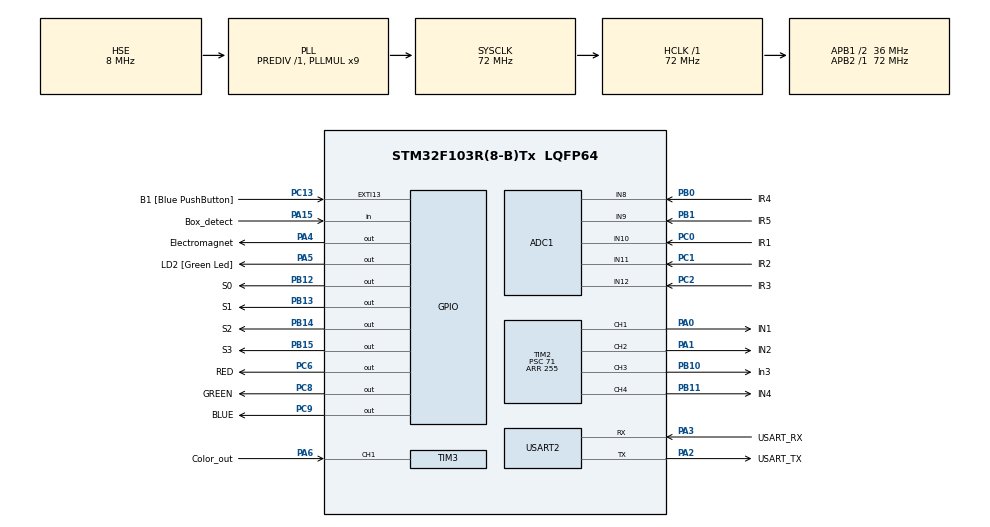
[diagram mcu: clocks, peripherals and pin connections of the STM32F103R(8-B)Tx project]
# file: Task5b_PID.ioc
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ADC1.Channel-0\#ChannelRegularConversion=ADC_CHANNEL_10
ADC1.Channel-1\#ChannelRegularConversion=ADC_CHANNEL_11
ADC1.Channel-2\#ChannelRegularConversion=ADC_CHANNEL_12
ADC1.Channel-3\#ChannelRegularConversion=ADC_CHANNEL_8
ADC1.Channel-4\#ChannelRegularConversion=ADC_CHANNEL_9
ADC1.ContinuousConvMode=ENABLE
ADC1.NbrOfConversion=5
ADC1.NbrOfConversionFlag=1
ADC1.Rank-0\#ChannelRegularConversion=1
ADC1.Rank-1\#ChannelRegularConversion=2
ADC1.Rank-2\#ChannelRegularConversion=3
ADC1.Rank-3\#ChannelRegularConversion=4
ADC1.Rank-4\#ChannelRegularConversion=5
ADC1.SamplingTime-0\#ChannelRegularConversion=ADC_SAMPLETIME_55CYCLES_5
ADC1.SamplingTime-1\#ChannelRegularConversion=ADC_SAMPLETIME_55CYCLES_5
ADC1.SamplingTime-2\#ChannelRegularConversion=ADC_SAMPLETIME_55CYCLES_5
ADC1.SamplingTime-3\#ChannelRegularConversion=ADC_SAMPLETIME_55CYCLES_5
ADC1.SamplingTime-4\#ChannelRegularConversion=ADC_SAMPLETIME_55CYCLES_5
ADC1.master=1
Dma.ADC1.0.Direction=DMA_PERIPH_TO_MEMORY
Dma.ADC1.0.Instance=DMA1_Channel1
Dma.ADC1.0.MemDataAlignment=DMA_MDATAALIGN_HALFWORD
Dma.ADC1.0.MemInc=DMA_MINC_ENABLE
Dma.ADC1.0.Mode=DMA_CIRCULAR
Dma.ADC1.0.PeriphDataAlignment=DMA_PDATAALIGN_HALFWORD
Dma.ADC1.0.PeriphInc=DMA_PINC_DISABLE
Dma.ADC1.0.Priority=DMA_PRIORITY_LOW
Dma.Request0=ADC1
Mcu.Family=STM32F1
Mcu.Name=STM32F103R(8-B)Tx
Mcu.Package=LQFP64
NVIC.ADC1_2_IRQn=true\:0\:0\:false\:false\:true\:true\:true\:true
NVIC.DMA1_Channel1_IRQn=true\:0\:0\:false\:false\:true\:false\:true\:true
NVIC.EXTI15_10_IRQn=true\:0\:0\:false\:false\:true\:true\:true\:true
NVIC.PriorityGroup=NVIC_PRIORITYGROUP_4
NVIC.TIM3_IRQn=true\:0\:0\:false\:false\:true\:true\:true\:true
PA0-WKUP.GPIO_Label=IN1
PA0-WKUP.Signal=S_TIM2_CH1_ETR
PA1.GPIO_Label=IN2
PA1.Signal=S_TIM2_CH2
PA13.GPIO_Label=TMS
PA13.Mode=Serial_Wire
PA13.Signal=SYS_JTMS-SWDIO
PA14.GPIO_Label=TCK
PA14.Mode=Serial_Wire
PA14.Signal=SYS_JTCK-SWCLK
PA15.GPIO_Label=Box_detect
PA15.Signal=GPIO_Input
PA2.GPIO_Label=USART_TX
PA2.GPIO_Mode=GPIO_MODE_AF_PP
PA2.GPIO_PuPd=GPIO_NOPULL
PA2.GPIO_Speed=GPIO_SPEED_FREQ_LOW
PA2.Mode=Asynchronous
PA2.Signal=USART2_TX
PA3.GPIO_Label=USART_RX
PA3.GPIO_Mode=GPIO_MODE_AF_PP
PA3.GPIO_PuPd=GPIO_NOPULL
PA3.GPIO_Speed=GPIO_SPEED_FREQ_LOW
PA3.Mode=Asynchronous
PA3.Signal=USART2_RX
PA4.GPIO_Label=Electromagnet
PA4.Signal=GPIO_Output
PA5.GPIO_Label=LD2 [Green Led]
PA5.GPIO_ModeDefaultOutputPP=GPIO_MODE_OUTPUT_PP
PA5.GPIO_PuPd=GPIO_NOPULL
PA5.GPIO_Speed=GPIO_SPEED_FREQ_LOW
PA5.Signal=GPIO_Output
PA6.GPIO_Label=Color_out
PA6.Signal=S_TIM3_CH1
PB0.GPIO_Label=IR4
PB0.Signal=ADCx_IN8
PB1.GPIO_Label=IR5
PB1.Signal=ADCx_IN9
PB10.GPIO_Label=In3
PB10.Signal=S_TIM2_CH3
PB11.GPIO_Label=IN4
PB11.Signal=S_TIM2_CH4
PB12.GPIO_Label=S0
PB12.Signal=GPIO_Output
PB13.GPIO_Label=S1
PB13.Signal=GPIO_Output
PB14.GPIO_Label=S2
PB14.Signal=GPIO_Output
PB15.GPIO_Label=S3
PB15.Signal=GPIO_Output
PB3.GPIO_Label=SWO
PB3.Signal=SYS_JTDO-TRACESWO
PC0.GPIO_Label=IR1
PC0.Signal=ADCx_IN10
PC1.GPIO_Label=IR2
PC1.Signal=ADCx_IN11
PC13-TAMPER-RTC.GPIO_Label=B1 [Blue PushButton]
PC13-TAMPER-RTC.GPIO_PuPd=GPIO_NOPULL
PC13-TAMPER-RTC.Signal=GPXTI13
PC14-OSC32_IN.Mode=LSE-External-Oscillator
PC14-OSC32_IN.Signal=RCC_OSC32_IN
PC15-OSC32_OUT.Mode=LSE-External-Oscillator
PC15-OSC32_OUT.Signal=RCC_OSC32_OUT
PC2.GPIO_Label=IR3
PC2.Signal=ADCx_IN12
PC6.GPIO_Label=RED
PC6.Signal=GPIO_Output
PC8.GPIO_Label=GREEN
PC8.Signal=GPIO_Output
PC9.GPIO_Label=BLUE
PC9.Signal=GPIO_Output
PD0-OSC_IN.Mode=HSE-External-Clock-Source
PD0-OSC_IN.Signal=RCC_OSC_IN
PD1-OSC_OUT.Mode=HSE-External-Clock-Source
PD1-OSC_OUT.Signal=RCC_OSC_OUT
ProjectManager.HeapSize=0x200
ProjectManager.StackSize=0x400
ProjectManager.TargetToolchain=STM32CubeIDE
RCC.ADCPresc=RCC_ADCPCLK2_DIV6
RCC.AHBFreq_Value=72000000
RCC.APB1CLKDivider=RCC_HCLK_DIV2
RCC.APB1Freq_Value=36000000
RCC.APB1TimFreq_Value=72000000
RCC.APB2Freq_Value=72000000
RCC.APB2TimFreq_Value=72000000
RCC.HCLKFreq_Value=72000000
RCC.PLLMUL=RCC_PLL_MUL9
RCC.PLLSourceVirtual=RCC_PLLSOURCE_HSE
RCC.RTCClockSelection=RCC_RTCCLKSOURCE_LSE
RCC.SYSCLKFreq_VALUE=72000000
RCC.SYSCLKSource=RCC_SYSCLKSOURCE_PLLCLK
RCC.USBFreq_Value=72000000
SH.ADCx_IN10.0=ADC1_IN10,IN10
SH.ADCx_IN11.0=ADC1_IN11,IN11
SH.ADCx_IN12.0=ADC1_IN12,IN12
SH.ADCx_IN8.0=ADC1_IN8,IN8
SH.ADCx_IN9.0=ADC1_IN9,IN9
SH.S_TIM2_CH1_ETR.0=TIM2_CH1,PWM Generation1 CH1
SH.S_TIM2_CH2.0=TIM2_CH2,PWM Generation2 CH2
SH.S_TIM2_CH3.0=TIM2_CH3,PWM Generation3 CH3
SH.S_TIM2_CH4.0=TIM2_CH4,PWM Generation4 CH4
SH.S_TIM3_CH1.0=TIM3_CH1,Input_Capture1_from_TI1
TIM2.Channel-PWM\ Generation1\ CH1=TIM_CHANNEL_1
TIM2.Channel-PWM\ Generation2\ CH2=TIM_CHANNEL_2
TIM2.Channel-PWM\ Generation3\ CH3=TIM_CHANNEL_3
TIM2.Channel-PWM\ Generation4\ CH4=TIM_CHANNEL_4
TIM2.Period=255
TIM2.Prescaler=71
TIM3.Channel-Input_Capture1_from_TI1=TIM_CHANNEL_1
USART2.VirtualMode=VM_ASYNC
board=NUCLEO-F103RB

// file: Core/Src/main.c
/* USER CODE BEGIN Header */
/**
  ******************************************************************************
  * @file           : main.c
  * @brief          : Main program body
  ******************************************************************************
  * @attention
  *
  * Copyright (c) 2026 STMicroelectronics.
  * All rights reserved.
  *
  * This software is licensed under terms that can be found in the LICENSE file
  * in the root directory of this software component.
  * If no LICENSE file comes with this software, it is provided AS-IS.
  *
  ******************************************************************************
  */
/* USER CODE END Header */
#include "main.h"

/* USER CODE BEGIN Includes */
#include "stdio.h"
#include "string.h"
#include "color.h"
/* USER CODE END Includes */

ADC_HandleTypeDef hadc1;
DMA_HandleTypeDef hdma_adc1;

TIM_HandleTypeDef htim2;
TIM_HandleTypeDef htim3;

UART_HandleTypeDef huart2;

/* USER CODE BEGIN PV */
float left_speed;
float right_speed;
volatile uint8_t adc_ready = 0;
/* USER CODE END PV */

void SystemClock_Config(void);
static void MX_GPIO_Init(void);
static void MX_DMA_Init(void);
static void MX_USART2_UART_Init(void);
static void MX_ADC1_Init(void);
static void MX_TIM3_Init(void);
static void MX_TIM2_Init(void);

/* USER CODE BEGIN 0 */
void set_motor(float speedr, float speedl) {
    // 1. Convert to signed integer immediately to avoid float math later.
    // Casting to int16_t preserves the sign (+/-) and handles values up to ±32,000.
    int16_t pwm_r = (int16_t)(speedr * 255.0f);
    int16_t pwm_l = (int16_t)(speedl * 255.0f);

    // --- RIGHT MOTOR ---
    if (pwm_r > 0) {
        // Moving Forward
        __HAL_TIM_SET_COMPARE(&htim2, TIM_CHANNEL_1, (uint8_t)pwm_r);
        __HAL_TIM_SET_COMPARE(&htim2, TIM_CHANNEL_2, 0);
    }
    else {
        // Moving Reverse OR Stopped (0)
        // Note: -pwm_r flips the negative number to positive for the register
        __HAL_TIM_SET_COMPARE(&htim2, TIM_CHANNEL_1, 0);
        __HAL_TIM_SET_COMPARE(&htim2, TIM_CHANNEL_2, (uint8_t)(-pwm_r));
    }

    // --- LEFT MOTOR ---
    if (pwm_l > 0) {
        // Moving Forward
        __HAL_TIM_SET_COMPARE(&htim2, TIM_CHANNEL_3, (uint8_t)pwm_l);
        __HAL_TIM_SET_COMPARE(&htim2, TIM_CHANNEL_4, 0);
    }
    else {
        // Moving Reverse OR Stopped (0)
        __HAL_TIM_SET_COMPARE(&htim2, TIM_CHANNEL_3, 0);
        __HAL_TIM_SET_COMPARE(&htim2, TIM_CHANNEL_4, (uint8_t)(-pwm_l));
    }
}
/* USER CODE END 0 */

int main(void)
{

  /* USER CODE BEGIN 1 */
uint16_t adcBuffer[5];
  /* USER CODE END 1 */

  /* MCU Configuration--------------------------------------------------------*/

  /* Reset of all peripherals, Initializes the Flash interface and the Systick. */
  HAL_Init();

  /* Configure the system clock */
  SystemClock_Config();

  /* Initialize all configured peripherals */
  MX_GPIO_Init();
  MX_DMA_Init();
  MX_USART2_UART_Init();
  MX_ADC1_Init();
  MX_TIM3_Init();
  MX_TIM2_Init();
  /* USER CODE BEGIN 2 */
  HAL_ADC_Start_DMA(&hadc1, (uint32_t*)adcBuffer, 5);
  HAL_TIM_PWM_Start(&htim2, TIM_CHANNEL_1);
  HAL_TIM_PWM_Start(&htim2, TIM_CHANNEL_2);
  HAL_TIM_PWM_Start(&htim2, TIM_CHANNEL_3);
  HAL_TIM_PWM_Start(&htim2, TIM_CHANNEL_4);
  Color_Init(&htim3);
  /* USER CODE END 2 */

  /* Infinite loop */
  /* USER CODE BEGIN WHILE */
  float Kp =1.5f;  // Proportional gain
      float Ki = 0.055f; // Integral gain
      float Kd = 0.4f; // Derivative gain
      // Base speed for the robot
      float base_speed = 0.37f;
      int objcount=0;
      int corr=0;
      int corw=0;
      int mode=0;
      int done=0;
      int junction=0;
      int color;
      int pick=0;

          // PID variables
      float integral = 0.0f;
      float prev_error = 0.0f;

          // Assuming 5 line sensors (common for line following robots)
          // Positions for weighted average: leftmost to rightmost
      float positions[5] = {-2.0f, -1.0f, 0.0f, 1.0f, 2.0f};
  while (1)
  {
	  // Wait for ADC conversion to complete
	  if (!adc_ready) {
		  continue;  // Skip processing until ADC data is ready
	  }
	  adc_ready = 0;  // Clear flag

	  float ir_line[5];
	  for (int i = 0; i < 5; i++) {
		  ir_line[i] = (adcBuffer[i] / 4095.0f);  // 12-bit ADC to voltage
	  }
      if(mode==0){
	    if(ir_line[0]>0.7f && ir_line[4]>0.7f){
	          	corw++;
	            }
	    else{
	    	corw=0; }
	    if(corw==2){
	    	mode=1;
	    	corw=0;
	    	integral = 0.0f;
	    	prev_error = 0.0f;
	    }
      }
      if(mode==1){
	   if(ir_line[0]<0.5f && ir_line[4]<0.5f){
	          	corw++;
	            }
	    else{
	    	corw=0; }
	    if(corw==2){
	    	mode=0;
	    	corw=0;
	    	done=0;
	    	junction=0;
	    	integral = 0.0f;
	    	prev_error = 0.0f;
	    }
      }

	  	  // Calculate weighted sum for error
	  	  float sum = 0.0f;
	  	  float weighted = 0.0f;
	  	  for (int i = 0; i < 5; i++) {
	  		  float value = ir_line[i];
	  		  sum += value;
	  		  weighted += value * positions[i];
	  	  }
	  	  // Calculate error (deviation from center)
	  	  float error = weighted / sum;

	  	  // Update integral and derivative
	  	  integral += error;
	  	  float derivative = error - prev_error;

	  	  // Calculate PID output
	  	  float output = Kp * error + Ki * integral + Kd * derivative;

	  	  // Calculate motor speeds
	  	  float left_speed = base_speed + output;
	  	  float right_speed = base_speed - output;

	  	  // Clamp speeds to valid range (assuming -1.0 to 1.0)
	  	  if (left_speed > 1.0f) left_speed = 1.0f;
	  	  if (left_speed < -1.0f) left_speed = -1.0f;
	  	  if (right_speed > 1.0f) right_speed = 1.0f;
	  	  if (right_speed < -1.0f) right_speed = -1.0f;

	  	  // Set motor speeds
	  	  if(mode==0){
	  	  set_motor(left_speed, right_speed);
	  	  }
	  	  else{
	  		set_motor(right_speed,left_speed);
	  	  }

	  	  // Update previous error
	  	  prev_error = error;

		 if(HAL_GPIO_ReadPin(Box_detect_GPIO_Port, Box_detect_Pin)==GPIO_PIN_RESET && pick==0){
				  set_motor(0.5f,0.5f);
				  HAL_Delay(250);
				  set_motor(0.0f,0.0f);
				  HAL_GPIO_WritePin(Electromagnet_GPIO_Port,Electromagnet_Pin,GPIO_PIN_SET);
				  HAL_Delay(100);
				  color = Color_Detect();
				  objcount++;
				  pick=1;
				  set_motor(0.5f,0.5f);
				  HAL_Delay(200);
				  set_motor(0.5f,-0.5f);
				  HAL_Delay(1100);
		  }

   if(mode==1){
       if(ir_line[1]<0.7 && ir_line[2]<0.7 && ir_line[3]<0.7){
    	   corr++;
       }
       else{
    	   corr=0;
       }
       if(corr==2){
    	   junction++;
       }
   if(color==3){
       if(junction==1 && done==0){
    	   if(pick==1){
    		   set_motor(0.5f,0.5f);
    		   HAL_Delay(300);
    	   }
    	   else{
    		   set_motor(0.8f,0.0f);
    		   HAL_Delay(400);
    	   }
    	   done=1;
       }
       if(junction==2 && done==1){
    	   if(pick==1){
    		   set_motor(0.0f,0.8f);
    		   HAL_Delay(400);
    	   }
    	   else{
    		   set_motor(0.5f,0.5f);
    		   HAL_Delay(300);
    	   }
    	   done=2;
       }
       if(junction==3){
    	   HAL_GPIO_WritePin(Electromagnet_GPIO_Port,Electromagnet_Pin,GPIO_PIN_RESET);
    	   set_motor(0.0f,0.0f);
    	   HAL_Delay(100);
    	   set_motor(-0.5f,0.5f);
    	   HAL_Delay(950);
    	   pick=0;
    	   junction=0;
    	   done=0;
        }
     }
   if(color==2){
          if(junction==1 && done==0){
       	   if(pick==1){
       		   set_motor(0.5f,0.5f);
       		   HAL_Delay(300);
       	   }
       	   else{
       		   set_motor(0.0f,0.8f);
       		   HAL_Delay(400);
       	   }
       	   done=1;
          }
          if(junction==2 && done==1){
       	   if(pick==1){
       		   set_motor(0.5f,0.5f);
       		   HAL_Delay(300);
       	   }
       	   else{
       		   set_motor(0.5f,0.5f);
       		   HAL_Delay(300);
       	   }
       	   done=2;
          }
          if(junction==3 && done==2){
                 	   if(pick==1){
                 		   set_motor(0.8f,0.0f);
                 		   HAL_Delay(400);
                 	   }
                 	   else{
                 		   set_motor(0.5f,0.5f);
                 		   HAL_Delay(300);
                 	   }
                 	   done=3;
                    }
          if(junction==4){
       	   HAL_GPIO_WritePin(Electromagnet_GPIO_Port,Electromagnet_Pin,GPIO_PIN_RESET);
       	   set_motor(0.0f,0.0f);
       	   HAL_Delay(100);
       	   set_motor(-0.5f,0.5f);
       	   HAL_Delay(950);
       	   pick=0;
       	   junction=0;
       	   done=0;
           }
        }
   }

   if(objcount==2 && pick==0){
	   set_motor(0.0f,0.0f);
	       	   while(1)
	       	   {
	       	   White_LED_box_Detect();
	       	   }
   }

	  	  HAL_Delay(20);

    /* USER CODE END WHILE */

  }
}

void SystemClock_Config(void)
{
  RCC_OscInitTypeDef RCC_OscInitStruct = {0};
  RCC_ClkInitTypeDef RCC_ClkInitStruct = {0};
  RCC_PeriphCLKInitTypeDef PeriphClkInit = {0};

  /** Initializes the RCC Oscillators according to the specified parameters
  * in the RCC_OscInitTypeDef structure.
  */
  RCC_OscInitStruct.OscillatorType = RCC_OSCILLATORTYPE_HSE;
  RCC_OscInitStruct.HSEState = RCC_HSE_BYPASS;
  RCC_OscInitStruct.HSEPredivValue = RCC_HSE_PREDIV_DIV1;
  RCC_OscInitStruct.HSIState = RCC_HSI_ON;
  RCC_OscInitStruct.PLL.PLLState = RCC_PLL_ON;
  RCC_OscInitStruct.PLL.PLLSource = RCC_PLLSOURCE_HSE;
  RCC_OscInitStruct.PLL.PLLMUL = RCC_PLL_MUL9;
  if (HAL_RCC_OscConfig(&RCC_OscInitStruct) != HAL_OK)
  {
    Error_Handler();
  }

  /** Initializes the CPU, AHB and APB buses clocks
  */
  RCC_ClkInitStruct.ClockType = RCC_CLOCKTYPE_HCLK|RCC_CLOCKTYPE_SYSCLK
                              |RCC_CLOCKTYPE_PCLK1|RCC_CLOCKTYPE_PCLK2;
  RCC_ClkInitStruct.SYSCLKSource = RCC_SYSCLKSOURCE_PLLCLK;
  RCC_ClkInitStruct.AHBCLKDivider = RCC_SYSCLK_DIV1;
  RCC_ClkInitStruct.APB1CLKDivider = RCC_HCLK_DIV2;
  RCC_ClkInitStruct.APB2CLKDivider = RCC_HCLK_DIV1;

  if (HAL_RCC_ClockConfig(&RCC_ClkInitStruct, FLASH_LATENCY_2) != HAL_OK)
  {
    Error_Handler();
  }
  PeriphClkInit.PeriphClockSelection = RCC_PERIPHCLK_ADC;
  PeriphClkInit.AdcClockSelection = RCC_ADCPCLK2_DIV6;
  if (HAL_RCCEx_PeriphCLKConfig(&PeriphClkInit) != HAL_OK)
  {
    Error_Handler();
  }
}

static void MX_ADC1_Init(void)
{

  ADC_ChannelConfTypeDef sConfig = {0};

  /** Common config
  */
  hadc1.Instance = ADC1;
  hadc1.Init.ScanConvMode = ADC_SCAN_ENABLE;
  hadc1.Init.ContinuousConvMode = ENABLE;
  hadc1.Init.DiscontinuousConvMode = DISABLE;
  hadc1.Init.ExternalTrigConv = ADC_SOFTWARE_START;
  hadc1.Init.DataAlign = ADC_DATAALIGN_RIGHT;
  hadc1.Init.NbrOfConversion = 5;
  if (HAL_ADC_Init(&hadc1) != HAL_OK)
  {
    Error_Handler();
  }

  /** Configure Regular Channel
  */
  sConfig.Channel = ADC_CHANNEL_10;
  sConfig.Rank = ADC_REGULAR_RANK_1;
  sConfig.SamplingTime = ADC_SAMPLETIME_55CYCLES_5;
  if (HAL_ADC_ConfigChannel(&hadc1, &sConfig) != HAL_OK)
  {
    Error_Handler();
  }

  /** Configure Regular Channel
  */
  sConfig.Channel = ADC_CHANNEL_11;
  sConfig.Rank = ADC_REGULAR_RANK_2;
  if (HAL_ADC_ConfigChannel(&hadc1, &sConfig) != HAL_OK)
  {
    Error_Handler();
  }

  /** Configure Regular Channel
  */
  sConfig.Channel = ADC_CHANNEL_12;
  sConfig.Rank = ADC_REGULAR_RANK_3;
  if (HAL_ADC_ConfigChannel(&hadc1, &sConfig) != HAL_OK)
  {
    Error_Handler();
  }

  /** Configure Regular Channel
  */
  sConfig.Channel = ADC_CHANNEL_8;
  sConfig.Rank = ADC_REGULAR_RANK_4;
  if (HAL_ADC_ConfigChannel(&hadc1, &sConfig) != HAL_OK)
  {
    Error_Handler();
  }

  /** Configure Regular Channel
  */
  sConfig.Channel = ADC_CHANNEL_9;
  sConfig.Rank = ADC_REGULAR_RANK_5;
  if (HAL_ADC_ConfigChannel(&hadc1, &sConfig) != HAL_OK)
  {
    Error_Handler();
  }

}

static void MX_TIM2_Init(void)
{

  TIM_MasterConfigTypeDef sMasterConfig = {0};
  TIM_OC_InitTypeDef sConfigOC = {0};

  htim2.Instance = TIM2;
  htim2.Init.Prescaler = 71;
  htim2.Init.CounterMode = TIM_COUNTERMODE_UP;
  htim2.Init.Period = 255;
  htim2.Init.ClockDivision = TIM_CLOCKDIVISION_DIV1;
  htim2.Init.AutoReloadPreload = TIM_AUTORELOAD_PRELOAD_DISABLE;
  if (HAL_TIM_PWM_Init(&htim2) != HAL_OK)
  {
    Error_Handler();
  }
  sMasterConfig.MasterOutputTrigger = TIM_TRGO_RESET;
  sMasterConfig.MasterSlaveMode = TIM_MASTERSLAVEMODE_DISABLE;
  if (HAL_TIMEx_MasterConfigSynchronization(&htim2, &sMasterConfig) != HAL_OK)
  {
    Error_Handler();
  }
  sConfigOC.OCMode = TIM_OCMODE_PWM1;
  sConfigOC.Pulse = 0;
  sConfigOC.OCPolarity = TIM_OCPOLARITY_HIGH;
  sConfigOC.OCFastMode = TIM_OCFAST_DISABLE;
  if (HAL_TIM_PWM_ConfigChannel(&htim2, &sConfigOC, TIM_CHANNEL_1) != HAL_OK)
  {
    Error_Handler();
  }
  if (HAL_TIM_PWM_ConfigChannel(&htim2, &sConfigOC, TIM_CHANNEL_2) != HAL_OK)
  {
    Error_Handler();
  }
  if (HAL_TIM_PWM_ConfigChannel(&htim2, &sConfigOC, TIM_CHANNEL_3) != HAL_OK)
  {
    Error_Handler();
  }
  if (HAL_TIM_PWM_ConfigChannel(&htim2, &sConfigOC, TIM_CHANNEL_4) != HAL_OK)
  {
    Error_Handler();
  }
  HAL_TIM_MspPostInit(&htim2);

}

static void MX_TIM3_Init(void)
{

  TIM_MasterConfigTypeDef sMasterConfig = {0};
  TIM_IC_InitTypeDef sConfigIC = {0};

  htim3.Instance = TIM3;
  htim3.Init.Prescaler = 0;
  htim3.Init.CounterMode = TIM_COUNTERMODE_UP;
  htim3.Init.Period = 65535;
  htim3.Init.ClockDivision = TIM_CLOCKDIVISION_DIV1;
  htim3.Init.AutoReloadPreload = TIM_AUTORELOAD_PRELOAD_DISABLE;
  if (HAL_TIM_IC_Init(&htim3) != HAL_OK)
  {
    Error_Handler();
  }
  sMasterConfig.MasterOutputTrigger = TIM_TRGO_RESET;
  sMasterConfig.MasterSlaveMode = TIM_MASTERSLAVEMODE_DISABLE;
  if (HAL_TIMEx_MasterConfigSynchronization(&htim3, &sMasterConfig) != HAL_OK)
  {
    Error_Handler();
  }
  sConfigIC.ICPolarity = TIM_INPUTCHANNELPOLARITY_RISING;
  sConfigIC.ICSelection = TIM_ICSELECTION_DIRECTTI;
  sConfigIC.ICPrescaler = TIM_ICPSC_DIV1;
  sConfigIC.ICFilter = 0;
  if (HAL_TIM_IC_ConfigChannel(&htim3, &sConfigIC, TIM_CHANNEL_1) != HAL_OK)
  {
    Error_Handler();
  }

}

static void MX_USART2_UART_Init(void)
{

  huart2.Instance = USART2;
  huart2.Init.BaudRate = 115200;
  huart2.Init.WordLength = UART_WORDLENGTH_8B;
  huart2.Init.StopBits = UART_STOPBITS_1;
  huart2.Init.Parity = UART_PARITY_NONE;
  huart2.Init.Mode = UART_MODE_TX_RX;
  huart2.Init.HwFlowCtl = UART_HWCONTROL_NONE;
  huart2.Init.OverSampling = UART_OVERSAMPLING_16;
  if (HAL_UART_Init(&huart2) != HAL_OK)
  {
    Error_Handler();
  }

}

static void MX_DMA_Init(void)
{

  /* DMA controller clock enable */
  __HAL_RCC_DMA1_CLK_ENABLE();

  /* DMA interrupt init */
  /* DMA1_Channel1_IRQn interrupt configuration */
  HAL_NVIC_SetPriority(DMA1_Channel1_IRQn, 0, 0);
  HAL_NVIC_EnableIRQ(DMA1_Channel1_IRQn);

}

static void MX_GPIO_Init(void)
{
  GPIO_InitTypeDef GPIO_InitStruct = {0};

  /* GPIO Ports Clock Enable */
  __HAL_RCC_GPIOC_CLK_ENABLE();
  __HAL_RCC_GPIOD_CLK_ENABLE();
  __HAL_RCC_GPIOA_CLK_ENABLE();
  __HAL_RCC_GPIOB_CLK_ENABLE();

  /*Configure GPIO pin Output Level */
  HAL_GPIO_WritePin(GPIOA, Electromagnet_Pin|LD2_Pin, GPIO_PIN_RESET);

  /*Configure GPIO pin Output Level */
  HAL_GPIO_WritePin(GPIOB, S0_Pin|S1_Pin|S2_Pin|S3_Pin, GPIO_PIN_RESET);

  /*Configure GPIO pin Output Level */
  HAL_GPIO_WritePin(GPIOC, RED_Pin|GREEN_Pin|BLUE_Pin, GPIO_PIN_RESET);

  /*Configure GPIO pin : B1_Pin */
  GPIO_InitStruct.Pin = B1_Pin;
  GPIO_InitStruct.Mode = GPIO_MODE_IT_RISING;
  GPIO_InitStruct.Pull = GPIO_NOPULL;
  HAL_GPIO_Init(B1_GPIO_Port, &GPIO_InitStruct);

  /*Configure GPIO pins : Electromagnet_Pin LD2_Pin */
  GPIO_InitStruct.Pin = Electromagnet_Pin|LD2_Pin;
  GPIO_InitStruct.Mode = GPIO_MODE_OUTPUT_PP;
  GPIO_InitStruct.Pull = GPIO_NOPULL;
  GPIO_InitStruct.Speed = GPIO_SPEED_FREQ_LOW;
  HAL_GPIO_Init(GPIOA, &GPIO_InitStruct);

  /*Configure GPIO pins : S0_Pin S1_Pin S2_Pin S3_Pin */
  GPIO_InitStruct.Pin = S0_Pin|S1_Pin|S2_Pin|S3_Pin;
  GPIO_InitStruct.Mode = GPIO_MODE_OUTPUT_PP;
  GPIO_InitStruct.Pull = GPIO_NOPULL;
  GPIO_InitStruct.Speed = GPIO_SPEED_FREQ_LOW;
  HAL_GPIO_Init(GPIOB, &GPIO_InitStruct);

  /*Configure GPIO pins : RED_Pin GREEN_Pin BLUE_Pin */
  GPIO_InitStruct.Pin = RED_Pin|GREEN_Pin|BLUE_Pin;
  GPIO_InitStruct.Mode = GPIO_MODE_OUTPUT_PP;
  GPIO_InitStruct.Pull = GPIO_NOPULL;
  GPIO_InitStruct.Speed = GPIO_SPEED_FREQ_LOW;
  HAL_GPIO_Init(GPIOC, &GPIO_InitStruct);

  /*Configure GPIO pin : Box_detect_Pin */
  GPIO_InitStruct.Pin = Box_detect_Pin;
  GPIO_InitStruct.Mode = GPIO_MODE_INPUT;
  GPIO_InitStruct.Pull = GPIO_NOPULL;
  HAL_GPIO_Init(Box_detect_GPIO_Port, &GPIO_InitStruct);

  /* EXTI interrupt init*/
  HAL_NVIC_SetPriority(EXTI15_10_IRQn, 0, 0);
  HAL_NVIC_EnableIRQ(EXTI15_10_IRQn);

}

/* USER CODE BEGIN 4 */
void HAL_ADC_ConvCpltCallback(ADC_HandleTypeDef* hadc)
{
    if (hadc->Instance == ADC1) {
        adc_ready = 1;  // Set flag when ADC conversion is complete
    }
}
/* USER CODE END 4 */

void Error_Handler(void)
{
  __disable_irq();
  while (1)
  {
  }
}
